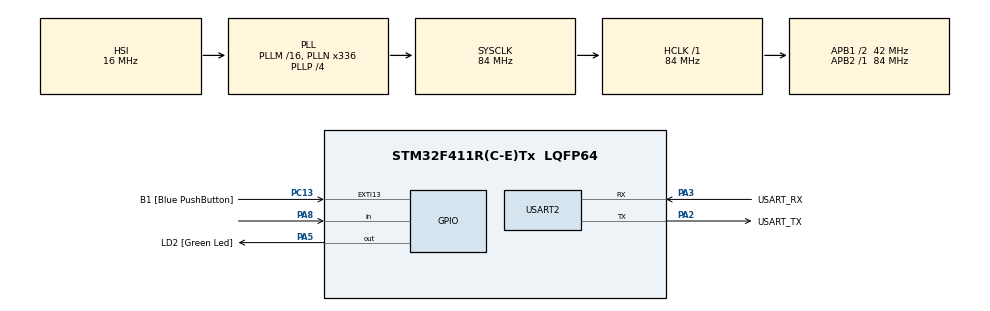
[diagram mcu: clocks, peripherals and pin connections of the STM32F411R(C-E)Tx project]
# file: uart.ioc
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Mcu.Family=STM32F4
Mcu.Name=STM32F411R(C-E)Tx
Mcu.Package=LQFP64
NVIC.PriorityGroup=NVIC_PRIORITYGROUP_0
NVIC.USART2_IRQn=true\:0\:0\:false\:false\:true\:true\:true
PA13.GPIO_Label=TMS
PA13.Mode=Serial_Wire
PA13.Signal=SYS_JTMS-SWDIO
PA14.GPIO_Label=TCK
PA14.Mode=Serial_Wire
PA14.Signal=SYS_JTCK-SWCLK
PA2.GPIO_Label=USART_TX
PA2.Mode=Asynchronous
PA2.Signal=USART2_TX
PA3.GPIO_Label=USART_RX
PA3.Mode=Asynchronous
PA3.Signal=USART2_RX
PA5.GPIO_Label=LD2 [Green Led]
PA5.Signal=GPIO_Output
PA8.Signal=GPIO_Input
PB3.GPIO_Label=SWO
PB3.Signal=SYS_JTDO-SWO
PC13-ANTI_TAMP.GPIO_Label=B1 [Blue PushButton]
PC13-ANTI_TAMP.GPIO_ModeDefaultEXTI=GPIO_MODE_IT_FALLING
PC13-ANTI_TAMP.Signal=GPXTI13
PC14-OSC32_IN.Mode=LSE-External-Oscillator
PC14-OSC32_IN.Signal=RCC_OSC32_IN
PC15-OSC32_OUT.Mode=LSE-External-Oscillator
PC15-OSC32_OUT.Signal=RCC_OSC32_OUT
PH0\ -\ OSC_IN.Mode=HSE-External-Clock-Source
PH0\ -\ OSC_IN.Signal=RCC_OSC_IN
PH1\ -\ OSC_OUT.Mode=HSE-External-Clock-Source
PH1\ -\ OSC_OUT.Signal=RCC_OSC_OUT
ProjectManager.HeapSize=0x200
ProjectManager.StackSize=0x400
ProjectManager.TargetToolchain=STM32CubeIDE
RCC.48MHZClocksFreq_Value=84000000
RCC.AHBFreq_Value=84000000
RCC.APB1CLKDivider=RCC_HCLK_DIV2
RCC.APB1Freq_Value=42000000
RCC.APB1TimFreq_Value=84000000
RCC.APB2Freq_Value=84000000
RCC.APB2TimFreq_Value=84000000
RCC.CortexFreq_Value=84000000
RCC.FLatency-AdvancedSettings=FLASH_LATENCY_2
RCC.HCLKFreq_Value=84000000
RCC.HSE_VALUE=8000000
RCC.HSI_VALUE=16000000
RCC.PLLN=336
RCC.PLLP=RCC_PLLP_DIV4
RCC.SYSCLKFreq_VALUE=84000000
RCC.SYSCLKSource=RCC_SYSCLKSOURCE_PLLCLK
RCC.VCOOutputFreq_Value=336000000
USART2.VirtualMode=VM_ASYNC
board=NUCLEO-F411RE

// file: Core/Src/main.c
/* USER CODE BEGIN Header */
/**
 ******************************************************************************
 * @file           : main.c
 * @brief          : Main program body
 ******************************************************************************
 * @attention
 *
 * <h2><center>&copy; Copyright (c) 2021 STMicroelectronics.
 * All rights reserved.</center></h2>
 *
 * This software component is licensed by ST under BSD 3-Clause license,
 * the "License"; You may not use this file except in compliance with the
 * License. You may obtain a copy of the License at:
 *                        opensource.org/licenses/BSD-3-Clause
 *
 ******************************************************************************
 */
/* USER CODE END Header */
#include "main.h"

/* USER CODE BEGIN Includes */
#include <stdio.h>
#include <string.h>
/* USER CODE END Includes */

UART_HandleTypeDef huart2;

/* USER CODE BEGIN PV */
char TxDataBuffer[32] = {0};
char RxDataBuffer[32] = {0};
char INFORM[32] = {0};

enum
{
	state_wait,
	state_wait_input = 10,
	state_menu_0_wait,
	state_menu_0 = 20,
	state_menu_1_wait,
	state_menu_1 = 30
};

uint32_t State_change = 0;
uint16_t Button[2] = {0};
int frequency = 1;
int time = 500;
int condition = 2;
/* USER CODE END PV */

void SystemClock_Config(void);
static void MX_GPIO_Init(void);
static void MX_USART2_UART_Init(void);
/* USER CODE BEGIN PFP */
void UARTRecieveAndResponsePolling();
int16_t UARTRecieveIT();
/* USER CODE END PFP */

int main(void)
{

  /* MCU Configuration--------------------------------------------------------*/

  /* Reset of all peripherals, Initializes the Flash interface and the Systick. */
  HAL_Init();

  /* Configure the system clock */
  SystemClock_Config();

  /* Initialize all configured peripherals */
  MX_GPIO_Init();
  MX_USART2_UART_Init();
  /* USER CODE BEGIN 2 */
  {
	  char temp[] = 	"LAB 8 MENU\r\n"
						"[0] : LED Control\r\n"
						"[1] : Button Status\r\n\n";
	  HAL_UART_Transmit(&huart2, (uint8_t*) temp, strlen(temp), 1000);
  }
  /* USER CODE END 2 */

  /* Infinite loop */
  /* USER CODE BEGIN WHILE */
	while (1) {
		Button[0] = HAL_GPIO_ReadPin(GPIOA, GPIO_PIN_8);
		HAL_UART_Receive_IT(&huart2, (uint8_t*) RxDataBuffer, 32);
		int16_t inputchar = UARTRecieveIT();
//		if (inputchar != -1) {
//			sprintf(TxDataBuffer, "ReceivedChar:[%c]\r\n", inputchar);
//			HAL_UART_Transmit(&huart2, (uint8_t*) TxDataBuffer,
//					strlen(TxDataBuffer), 1000);
//		}
		switch (State_change)
		{
			case state_wait:
			{
				char temp[] = 	"LAB 8 MENU\r\n"
								"[0] : LED Control\r\n"
								"[1] : Button Status\r\n\n";
				HAL_UART_Transmit(&huart2, (uint8_t*) temp, strlen(temp), 1000);
				State_change = state_wait_input;
				break;
			}
			case state_wait_input:

				switch (inputchar)
				{
					case -1:
						break;
					case '0':
						State_change = state_menu_0_wait;
						break;
					case '1':
						State_change = state_menu_1_wait;
						break;
					default:
					{
						char temp[] = 	"/// Wrong Information ///\r\n\n";
						HAL_UART_Transmit(&huart2, (uint8_t*) temp, strlen(temp), 1000);
						State_change = state_wait_input;
						break;
					}
				}
				break;
			case state_menu_0_wait:
			{
				char temp[] = 	"MENU_0_LED CONTROL\r\n"
								"[a] : Speed Up +1 Hz\r\n"
								"[s] : Speed Down -1 Hz\r\n"
								"[d] : ON/OFF\r\n"
								"[x] : Back to main menu\r\n\n";
				HAL_UART_Transmit(&huart2, (uint8_t*) temp, strlen(temp), 1000);
				State_change = state_menu_0;
				break;
			}
			case state_menu_0:
				switch (inputchar)
				{
					case -1:
						break;
					case 'a':
						frequency += 1;
						sprintf(INFORM, "frequency : %d\r\n\n",frequency);
						HAL_UART_Transmit(&huart2, (uint8_t*) INFORM, strlen(INFORM), 1000);
						State_change = state_menu_0_wait;
						break;
					case 's':
						frequency -= 1;
						if(frequency < 0)
						{
							frequency = 0;
						}
						sprintf(INFORM, "frequency : %d\r\n\n",frequency);
						HAL_UART_Transmit(&huart2, (uint8_t*) INFORM, strlen(INFORM), 1000);
						State_change = state_menu_0_wait;
						break;
					case 'd':
						condition += 1;
						if(condition%2 == 0)
						{
							sprintf(INFORM, "LED ON\r\n\n");
							HAL_UART_Transmit(&huart2, (uint8_t*) INFORM, strlen(INFORM), 1000);
							State_change = state_menu_0_wait;
						}
						if(condition%2 == 1)
						{
							sprintf(INFORM, "LED OFF\r\n\n");
							HAL_UART_Transmit(&huart2, (uint8_t*) INFORM, strlen(INFORM), 1000);
							State_change = state_menu_0_wait;
						}
						break;
					case 'x':
						State_change = state_wait;
						break;
					default:
					{
						char temp[] = 	"/// Wrong Information ///\r\n\n";
						HAL_UART_Transmit(&huart2, (uint8_t*) temp, strlen(temp), 1000);
						State_change = state_menu_0_wait;
						break;
					}
				}
				break;
			case state_menu_1_wait:
			{
				char temp[] = 	"MENU_1_BUTTON STATUS\r\n"
								"[Blue Button] : Show Status\r\n"
								"[x] : Back to main menu\r\n\n";
				HAL_UART_Transmit(&huart2, (uint8_t*) temp, strlen(temp), 1000);
				State_change = state_menu_1;
				break;
			}
			case state_menu_1:
				switch (inputchar)
				{
					case -1:
						break;
					case 'x':
						State_change = state_wait;
						break;
//					if(Blue_Button[0] == 1 && Blue_Button[1] == 0)
//					{
//						char temp[] = 	"PRESS\r\n\n";
//						HAL_UART_Transmit(&huart2, (uint8_t*) temp, strlen(temp), 1000);
//						State_change = state_menu_1_wait;
//					}
					default:
					{
						char temp[] = 	"/// Wrong Information ///\r\n\n";
						HAL_UART_Transmit(&huart2, (uint8_t*) temp, strlen(temp), 1000);
						State_change = state_menu_1_wait;
						break;
					}
				}
				break;
		}
		if(frequency != 0)
		{
			if(condition%2 == 0)
			{
				HAL_Delay(time/frequency);
				HAL_GPIO_TogglePin(LD2_GPIO_Port, LD2_Pin);
			}
			if(condition%2 == 1)
			{
				HAL_GPIO_WritePin(GPIOA, GPIO_PIN_5, GPIO_PIN_RESET);
			}
		}
		if(frequency == 0)
		{
			HAL_GPIO_WritePin(GPIOA, GPIO_PIN_5, GPIO_PIN_RESET);
		}
		if(State_change == 30)
		{
			if(Button[0] == 0 && Button[1] == 1)
			{
				char temp[] = 	"PRESS\r\n\n";
				HAL_UART_Transmit(&huart2, (uint8_t*) temp, strlen(temp), 1000);
			}
			if(Button[0] == 1 && Button[1] == 0)
			{
				char temp[] = 	"UNPRESS\r\n\n";
				HAL_UART_Transmit(&huart2, (uint8_t*) temp, strlen(temp), 1000);
				State_change = state_menu_1_wait;
			}
		}
		Button[1] = Button[0];
    /* USER CODE END WHILE */

	}
}

void SystemClock_Config(void)
{
  RCC_OscInitTypeDef RCC_OscInitStruct = {0};
  RCC_ClkInitTypeDef RCC_ClkInitStruct = {0};

  /** Configure the main internal regulator output voltage
  */
  __HAL_RCC_PWR_CLK_ENABLE();
  __HAL_PWR_VOLTAGESCALING_CONFIG(PWR_REGULATOR_VOLTAGE_SCALE1);
  /** Initializes the RCC Oscillators according to the specified parameters
  * in the RCC_OscInitTypeDef structure.
  */
  RCC_OscInitStruct.OscillatorType = RCC_OSCILLATORTYPE_HSI;
  RCC_OscInitStruct.HSIState = RCC_HSI_ON;
  RCC_OscInitStruct.HSICalibrationValue = RCC_HSICALIBRATION_DEFAULT;
  RCC_OscInitStruct.PLL.PLLState = RCC_PLL_ON;
  RCC_OscInitStruct.PLL.PLLSource = RCC_PLLSOURCE_HSI;
  RCC_OscInitStruct.PLL.PLLM = 16;
  RCC_OscInitStruct.PLL.PLLN = 336;
  RCC_OscInitStruct.PLL.PLLP = RCC_PLLP_DIV4;
  RCC_OscInitStruct.PLL.PLLQ = 4;
  if (HAL_RCC_OscConfig(&RCC_OscInitStruct) != HAL_OK)
  {
    Error_Handler();
  }
  /** Initializes the CPU, AHB and APB buses clocks
  */
  RCC_ClkInitStruct.ClockType = RCC_CLOCKTYPE_HCLK|RCC_CLOCKTYPE_SYSCLK
                              |RCC_CLOCKTYPE_PCLK1|RCC_CLOCKTYPE_PCLK2;
  RCC_ClkInitStruct.SYSCLKSource = RCC_SYSCLKSOURCE_PLLCLK;
  RCC_ClkInitStruct.AHBCLKDivider = RCC_SYSCLK_DIV1;
  RCC_ClkInitStruct.APB1CLKDivider = RCC_HCLK_DIV2;
  RCC_ClkInitStruct.APB2CLKDivider = RCC_HCLK_DIV1;

  if (HAL_RCC_ClockConfig(&RCC_ClkInitStruct, FLASH_LATENCY_2) != HAL_OK)
  {
    Error_Handler();
  }
}

static void MX_USART2_UART_Init(void)
{

  huart2.Instance = USART2;
  huart2.Init.BaudRate = 115200;
  huart2.Init.WordLength = UART_WORDLENGTH_8B;
  huart2.Init.StopBits = UART_STOPBITS_1;
  huart2.Init.Parity = UART_PARITY_NONE;
  huart2.Init.Mode = UART_MODE_TX_RX;
  huart2.Init.HwFlowCtl = UART_HWCONTROL_NONE;
  huart2.Init.OverSampling = UART_OVERSAMPLING_16;
  if (HAL_UART_Init(&huart2) != HAL_OK)
  {
    Error_Handler();
  }

}

static void MX_GPIO_Init(void)
{
  GPIO_InitTypeDef GPIO_InitStruct = {0};

  /* GPIO Ports Clock Enable */
  __HAL_RCC_GPIOC_CLK_ENABLE();
  __HAL_RCC_GPIOH_CLK_ENABLE();
  __HAL_RCC_GPIOA_CLK_ENABLE();
  __HAL_RCC_GPIOB_CLK_ENABLE();

  /*Configure GPIO pin Output Level */
  HAL_GPIO_WritePin(LD2_GPIO_Port, LD2_Pin, GPIO_PIN_RESET);

  /*Configure GPIO pin : B1_Pin */
  GPIO_InitStruct.Pin = B1_Pin;
  GPIO_InitStruct.Mode = GPIO_MODE_IT_FALLING;
  GPIO_InitStruct.Pull = GPIO_NOPULL;
  HAL_GPIO_Init(B1_GPIO_Port, &GPIO_InitStruct);

  /*Configure GPIO pin : LD2_Pin */
  GPIO_InitStruct.Pin = LD2_Pin;
  GPIO_InitStruct.Mode = GPIO_MODE_OUTPUT_PP;
  GPIO_InitStruct.Pull = GPIO_NOPULL;
  GPIO_InitStruct.Speed = GPIO_SPEED_FREQ_LOW;
  HAL_GPIO_Init(LD2_GPIO_Port, &GPIO_InitStruct);

  /*Configure GPIO pin : PA8 */
  GPIO_InitStruct.Pin = GPIO_PIN_8;
  GPIO_InitStruct.Mode = GPIO_MODE_INPUT;
  GPIO_InitStruct.Pull = GPIO_NOPULL;
  HAL_GPIO_Init(GPIOA, &GPIO_InitStruct);

}

/* USER CODE BEGIN 4 */
//void UARTRecieveAndResponsePolling()
//{
//	char Recieve[32]={0};
//
//	HAL_UART_Receive(&huart2, (uint8_t*)Recieve, "0", 1000);
//
//	sprintf(TxDataBuffer, "correct:[%s]\r\n", Recieve);
//	HAL_UART_Transmit(&huart2, (uint8_t*)TxDataBuffer, strlen(TxDataBuffer), 1000);
//
//}

int16_t UARTRecieveIT() {
	static uint32_t dataPos = 0;
	int16_t data = -1;
	if (huart2.RxXferSize - huart2.RxXferCount != dataPos) {
		data = RxDataBuffer[dataPos];
		dataPos = (dataPos + 1) % huart2.RxXferSize;
	}
	return data;
}

//void HAL_UART_RxCpltCallback(UART_HandleTypeDef *huart) {
//	sprintf(TxDataBuffer, "Received:[%s]\r\n", RxDataBuffer);
//	HAL_UART_Transmit(&huart2, (uint8_t*) TxDataBuffer, strlen(TxDataBuffer),
//			1000);
//}
/* USER CODE END 4 */

void Error_Handler(void)
{
	__disable_irq();
	while (1) {
	}
}

/************************ (C) COPYRIGHT STMicroelectronics *****END OF FILE****/
